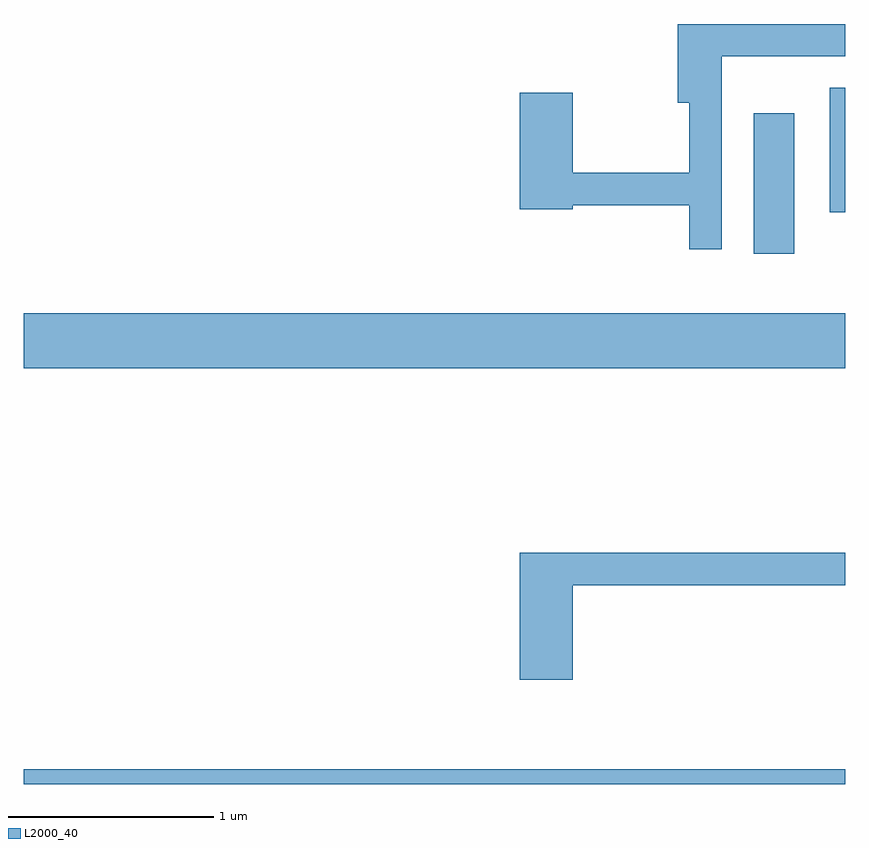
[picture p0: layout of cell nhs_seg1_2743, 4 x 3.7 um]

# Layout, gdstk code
import gdstk
lib = gdstk.Library(unit=1e-6, precision=1e-09)
def R(c, l, rs):  # rectangles x0, y0, x1, y1
    for r in rs: c.add(gdstk.rectangle(r[:2], r[2:], *l))
def P(c, l, *ps):  # polygons
    for p in ps: c.add(gdstk.Polygon(p, *l))
L2000_40 = (2000, 40)

nhs_seg1_2743 = lib.new_cell('nhs_seg1_2743')
R(nhs_seg1_2743, L2000_40, [(267.611,959.712,271.611,959.784), (267.611,961.736,271.611,962.004), (271.166,962.296,271.364,962.979), (271.536,962.496,271.611,963.104)])
P(nhs_seg1_2743, L2000_40, [(271.009,963.256),(271.611,963.256),(271.611,963.414),(270.796,963.414),(270.796,963.031),(270.851,963.031),(270.851,962.689),(270.284,962.689),(270.284,963.079),(270.026,963.079),(270.026,962.511),(270.284,962.511),(270.284,962.531),(270.851,962.531),(270.851,962.318),(271.009,962.318)],
  [(270.284,960.681),(271.611,960.681),(271.611,960.839),(270.026,960.839),(270.026,960.221),(270.284,960.221)])

lib.write_gds('nhs_seg1_2743.gds')
